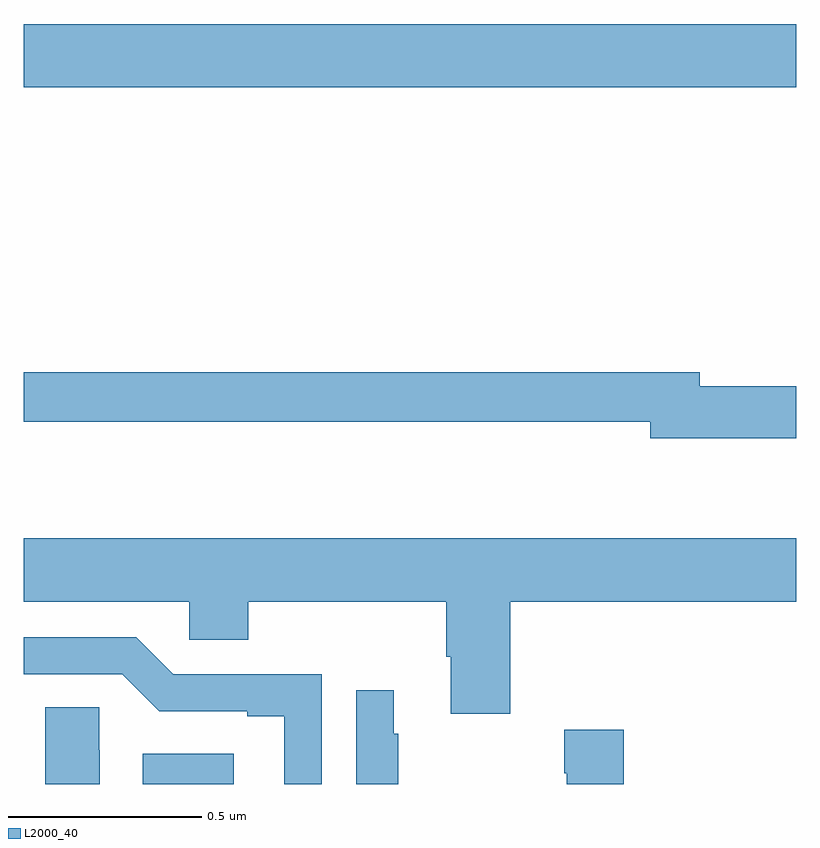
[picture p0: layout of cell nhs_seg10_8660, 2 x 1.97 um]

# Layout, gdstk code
import gdstk
lib = gdstk.Library(unit=1e-6, precision=1e-09)
def R(c, l, rs):  # rectangles x0, y0, x1, y1
    for r in rs: c.add(gdstk.rectangle(r[:2], r[2:], *l))
def P(c, l, *ps):  # polygons
    for p in ps: c.add(gdstk.Polygon(p, *l))
L2000_40 = (2000, 40)

nhs_seg10_8660 = lib.new_cell('nhs_seg10_8660')
R(nhs_seg10_8660, L2000_40, [(219.308,1310.5,219.544,1310.578), (219,1312.304,221,1312.468)])
P(nhs_seg10_8660, L2000_40, [(221,1311.53),(220.75,1311.53),(220.75,1311.566),(219,1311.566),(219,1311.438),(220.622,1311.438),(220.622,1311.395),(221,1311.395)],
  [(220.259,1310.972),(221,1310.972),(221,1311.136),(219,1311.136),(219,1310.972),(219.429,1310.972),(219.429,1310.874),(219.581,1310.874),(219.581,1310.972),(220.094,1310.972),(220.094,1310.83),(220.106,1310.83),(220.106,1310.682),(220.259,1310.682)],
  [(219.771,1310.784),(219.387,1310.784),(219.291,1310.88),(219,1310.88),(219,1310.784),(219.255,1310.784),(219.351,1310.688),(219.578,1310.688),(219.578,1310.676),(219.674,1310.676),(219.674,1310.5),(219.771,1310.5)],
  [(219.97,1310.63),(219.958,1310.63),(219.958,1310.743),(219.861,1310.743),(219.861,1310.5),(219.97,1310.5)],
  [(219.196,1310.588),(219.195,1310.588),(219.195,1310.699),(219.056,1310.699),(219.056,1310.5),(219.196,1310.5)],
  [(220.553,1310.641),(220.399,1310.641),(220.399,1310.528),(220.406,1310.528),(220.406,1310.5),(220.553,1310.5)])

lib.write_gds('nhs_seg10_8660.gds')
